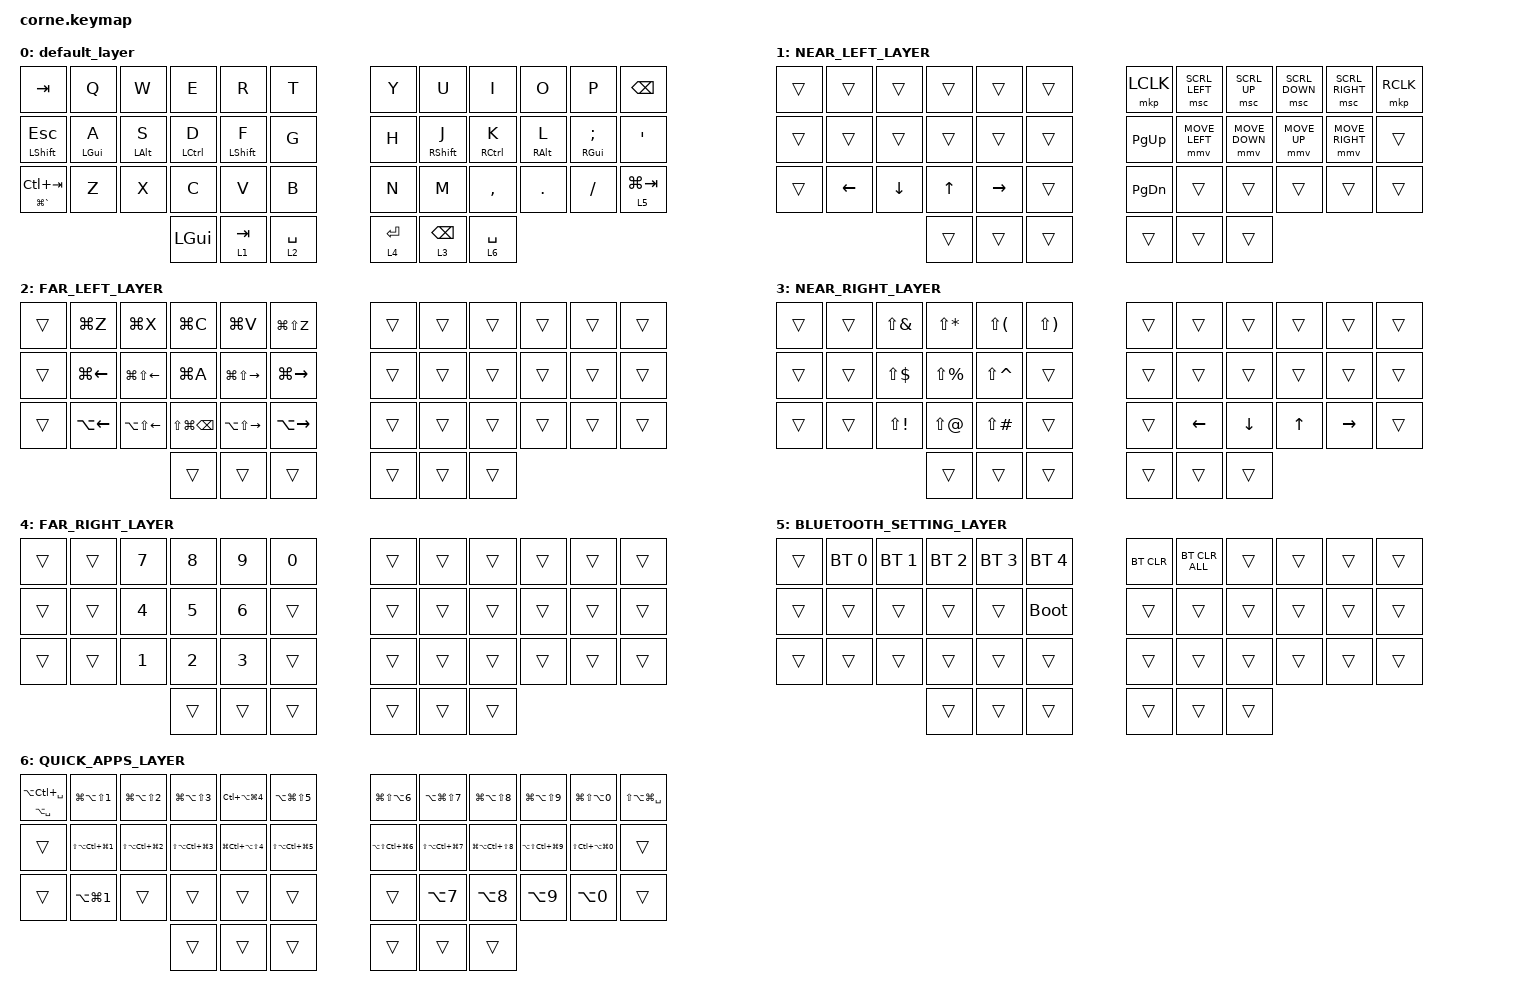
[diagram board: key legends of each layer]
/*
 * Copyright (c) 2020 The ZMK Contributors
 *
 * SPDX-License-Identifier: MIT
 */

#include <dt-bindings/zmk/mouse.h>
#include <behaviors.dtsi>
#include <dt-bindings/zmk/bt.h>
#include <dt-bindings/zmk/keys.h>
#include <dt-bindings/zmk/pointing.h>

// Mouse speed configuration

#define ZMK_POINTING_DEFAULT_MOVE_VAL 1200  // default: 600
#define ZMK_POINTING_DEFAULT_SCRL_VAL 80    // default: 10

/ {
    // Mouse speed and acceleration settings

    behaviors {
        // Home row mod-tap timing configuration

        hm: homerow_mods {
            compatible = "zmk,behavior-hold-tap";
            #binding-cells = <2>;
            flavor = "balanced";
            tapping-term-ms = <200>;
            quick-tap-ms = <175>;
            require-prior-idle-ms = <150>;
            bindings = <&kp>, <&kp>;
        };

        mmv {
            time-to-max-speed-ms = <300>;
            acceleration-exponent = <2>;
        };

        msc {
            time-to-max-speed-ms = <150>;
            acceleration-exponent = <1>;
        };
    };

    macros {
        grave_macro: grave_macro {
            compatible = "zmk,behavior-macro";
            #binding-cells = <0>;
            bindings =
                <&macro_press>,
                <&kp LALT>,
                <&macro_tap>,
                <&kp KP_N0 &kp KP_N0 &kp KP_N6 &kp KP_N0>,
                <&macro_release>,
                <&kp LALT>;
        };
    };

    combos {
        compatible = "zmk,combos";

        Left_Parenthesis {
            bindings = <&kp LEFT_PARENTHESIS>;
            key-positions = <7 8>;
        };

        Right_Parenthesis {
            bindings = <&kp RIGHT_PARENTHESIS>;
            key-positions = <9 8>;
        };

        Left_Brace {
            bindings = <&kp LEFT_BRACE>;
            key-positions = <2 3>;
        };

        Right_Brace {
            bindings = <&kp RIGHT_BRACE>;
            key-positions = <3 4>;
        };

        Left_Bracket {
            bindings = <&kp LEFT_BRACKET>;
            key-positions = <26 27>;
        };

        Right_Bracket {
            bindings = <&kp RIGHT_BRACKET>;
            key-positions = <27 28>;
        };

        Minus {
            bindings = <&kp MINUS>;
            key-positions = <16 28>;
        };

        Underscore {
            bindings = <&kp UNDERSCORE>;
            key-positions = <27 15>;
        };

        Equal {
            bindings = <&kp EQUAL>;
            key-positions = <15 3>;
        };

        Plus {
            bindings = <&kp PLUS>;
            key-positions = <16 4>;
        };

        Single_Quote {
            bindings = <&kp SINGLE_QUOTE>;
            key-positions = <2 3 4>;
        };

        Double_Quotes {
            bindings = <&kp DOUBLE_QUOTES>;
            key-positions = <16 15 14>;
        };

        Caps_Word {
            bindings = <&caps_word>;
            key-positions = <26 27 28>;
        };

        Pipe {
            bindings = <&kp PIPE>;
            key-positions = <19 7>;
        };

        Back_Slash {
            bindings = <&kp BACKSLASH>;
            key-positions = <31 19>;
        };

        Less_Than {
            bindings = <&kp LESS_THAN>;
            key-positions = <20 32>;
        };

        Greater_Than {
            bindings = <&kp GREATER_THAN>;
            key-positions = <20 8>;
        };

        Colon {
            bindings = <&kp COLON>;
            key-positions = <7 8 9>;
        };

        Semi_Colon {
            bindings = <&kp SEMICOLON>;
            key-positions = <19 20 21>;
        };

        Grave {
            bindings = <&grave_macro>;
            key-positions = <31 32 33>;
        };

        Slash {
            bindings = <&kp SLASH>;
            key-positions = <21 33>;
        };
    };

    keymap {
        compatible = "zmk,keymap";

        default_layer {
            // -----------------------------------------------------------------------------------------
            // |  TAB |  Q  |  W  |  E  |  R  |  T  |   |  Y  |  U   |  I  |  O  |  P  | BSPC |
            // | CTRL |  A  |  S  |  D  |  F  |  G  |   |  H  |  J   |  K  |  L  |  ;  |  '   |
            // | SHFT |  Z  |  X  |  C  |  V  |  B  |   |  N  |  M   |  ,  |  .  |  /  | ESC  |
            //                    | GUI | LWR | SPC |   | ENT | RSE  | ALT |

            bindings = <
&kp TAB                &kp Q       &kp W       &kp E        &kp R        &kp T          &kp Y         &kp U        &kp I        &kp O       &kp P          &kp BSPC
&mt LEFT_SHIFT ESC     &hm LGUI A  &hm LALT S  &hm LCTRL D  &hm LSHFT F  &kp G          &kp H         &hm RSHFT J  &hm RCTRL K  &hm RALT L  &hm RGUI SEMI  &kp SQT
&mt LG(GRAVE) LC(TAB)  &kp Z       &kp X       &kp C        &kp V        &kp B          &kp N         &kp M        &kp COMMA    &kp DOT     &kp FSLH       &lt 5 LG(TAB)
                                               &kp LGUI     &lt 1 TAB    &lt 2 SPACE    &lt 4 RETURN  &lt 3 BSPC   &lt 6 SPACE
            >;
        };

        NEAR_LEFT_LAYER {
            bindings = <
&trans  &trans    &trans    &trans  &trans     &trans    &mkp LCLK      &msc SCRL_LEFT  &msc SCRL_UP    &msc SCRL_DOWN  &msc SCRL_RIGHT  &mkp RCLK
&trans  &trans    &trans    &trans  &trans     &trans    &kp PAGE_UP    &mmv MOVE_LEFT  &mmv MOVE_DOWN  &mmv MOVE_UP    &mmv MOVE_RIGHT  &trans
&trans  &kp LEFT  &kp DOWN  &kp UP  &kp RIGHT  &trans    &kp PAGE_DOWN  &trans          &trans          &trans          &trans           &trans
                            &trans  &trans     &trans    &trans         &trans          &trans
            >;
        };

        FAR_LEFT_LAYER {
            bindings = <
&trans  &kp LG(Z)           &kp LG(X)         &kp LG(C)              &kp LG(V)          &kp LG(LS(Z))    &trans  &trans  &trans  &trans  &trans  &trans
&trans  &kp LG(LEFT_ARROW)  &kp LG(LS(LEFT))  &kp LG(A)              &kp LG(LS(RIGHT))  &kp LG(RIGHT)    &trans  &trans  &trans  &trans  &trans  &trans
&trans  &kp LA(LEFT_ARROW)  &kp LA(LS(LEFT))  &kp LS(LG(BACKSPACE))  &kp LA(LS(RIGHT))  &kp LA(RIGHT)    &trans  &trans  &trans  &trans  &trans  &trans
                                              &trans                 &trans             &trans           &trans  &trans  &trans
            >;
        };

        NEAR_RIGHT_LAYER {
            bindings = <
&trans  &trans  &kp LS(AMPS)  &kp LS(STAR)   &kp LS(LPAR)   &kp LS(RPAR)    &trans  &trans          &trans          &trans        &trans           &trans
&trans  &trans  &kp LS(DLLR)  &kp LS(PRCNT)  &kp LS(CARET)  &trans          &trans  &trans          &trans          &trans        &trans           &trans
&trans  &trans  &kp LS(EXCL)  &kp LS(AT)     &kp LS(POUND)  &trans          &trans  &kp LEFT_ARROW  &kp DOWN_ARROW  &kp UP_ARROW  &kp RIGHT_ARROW  &trans
                              &trans         &trans         &trans          &trans  &trans          &trans
            >;
        };

        FAR_RIGHT_LAYER {
            bindings = <
&trans  &trans  &kp N7  &kp N8  &kp N9  &kp N0    &trans  &trans  &trans  &trans  &trans  &trans
&trans  &trans  &kp N4  &kp N5  &kp N6  &trans    &trans  &trans  &trans  &trans  &trans  &trans
&trans  &trans  &kp N1  &kp N2  &kp N3  &trans    &trans  &trans  &trans  &trans  &trans  &trans
                        &trans  &trans  &trans    &trans  &trans  &trans
            >;
        };

        BLUETOOTH_SETTING_LAYER {
            bindings = <
&trans  &bt BT_SEL 0  &bt BT_SEL 1  &bt BT_SEL 2  &bt BT_SEL 3  &bt BT_SEL 4    &bt BT_CLR  &bt BT_CLR_ALL  &trans  &trans  &trans  &trans
&trans  &trans        &trans        &trans        &trans        &bootloader     &trans      &trans          &trans  &trans  &trans  &trans
&trans  &trans        &trans        &trans        &trans        &trans          &trans      &trans          &trans  &trans  &trans  &trans
                                    &trans        &trans        &trans          &trans      &trans          &trans
            >;
        };

        QUICK_APPS_LAYER {
            bindings = <
&mt LA(SPACE) LA(LC(SPACE))  &kp LG(LA(LS(NUMBER_1)))      &kp LG(LA(LS(NUMBER_2)))      &kp LG(LA(LS(NUMBER_3)))      &kp LC(LA(LG(NUMBER_4)))      &kp LA(LG(LS(N5)))        &kp LG(LS(LA(NUMBER_6)))      &kp LA(LG(LS(NUMBER_7)))  &kp LG(LA(LS(NUMBER_8)))  &kp LG(LA(LS(NUMBER_9)))  &kp LG(LS(LA(NUMBER_0)))  &kp LS(LA(LG(SPACE)))
&trans                       &kp LS(LA(LC(LG(NUMBER_1))))  &kp LS(LA(LC(LG(NUMBER_2))))  &kp LS(LA(LC(LG(NUMBER_3))))  &kp LG(LC(LA(LS(NUMBER_4))))  &kp LS(LA(LC(LG(N5))))    &kp LA(LS(LC(LG(NUMBER_6))))  &kp LS(LA(LC(LG(N7))))    &kp LG(LA(LC(LS(N8))))    &kp LA(LS(LC(LG(N9))))    &kp LS(LC(LA(LG(N0))))    &trans
&trans                       &kp LA(LG(NUMBER_1))          &trans                        &trans                        &trans                        &trans                    &trans                        &kp LA(NUMBER_7)          &kp LA(NUMBER_8)          &kp LA(NUMBER_9)          &kp LA(NUMBER_0)          &trans
                                                                                         &trans                        &trans                        &trans                    &trans                        &trans                    &trans
            >;
        };
    };
};
